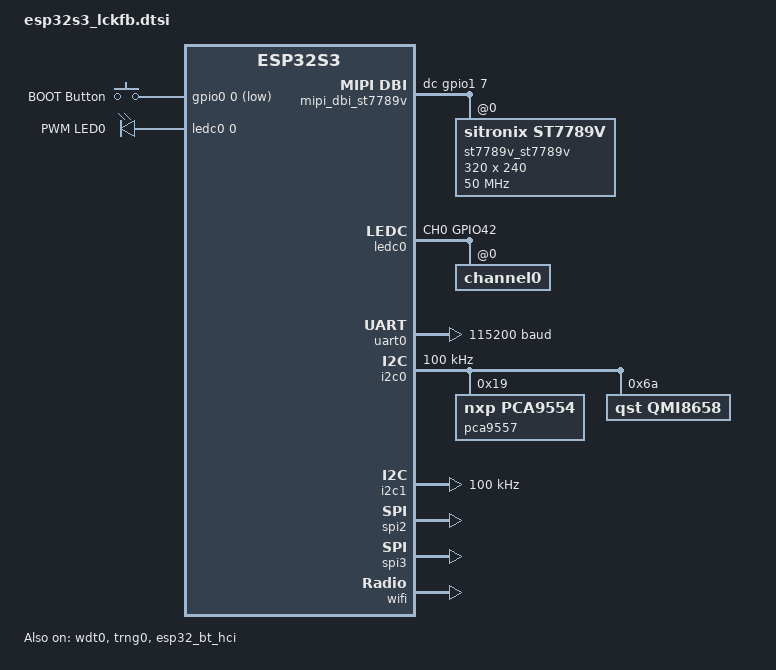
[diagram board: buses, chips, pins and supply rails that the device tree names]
/*
 * Copyright (c) 2023 YuLong Yao <feilongphone@gmail.com>
 *
 * SPDX-License-Identifier: Apache-2.0
 */

#include <espressif/esp32s3/esp32s3_wroom_n16r8.dtsi>
#include "esp32s3_lckfb-pinctrl.dtsi"
#include <zephyr/dt-bindings/input/input-event-codes.h>
#include <espressif/partitions_0x0_amp.dtsi>
#include <zephyr/dt-bindings/mipi_dbi/mipi_dbi.h>
#include <zephyr/dt-bindings/pwm/pwm.h>

/ {
	buttons {
		compatible = "gpio-keys";

		button0: button_0 {
			gpios = <&gpio0 0 (GPIO_PULL_UP | GPIO_ACTIVE_LOW)>;
			label = "BOOT Button";
			zephyr,code = <INPUT_KEY_0>;
		};
	};

	chosen {
		zephyr,display = &st7789v_st7789v;
	};

	aliases {
		pwm-led-bk = &pwm_led_backlight;
	};

	mipi_dbi_st7789v {
		compatible = "zephyr,mipi-dbi-spi";
		spi-dev = <&spi2>;
		dc-gpios = <&gpio1 7 GPIO_ACTIVE_HIGH>;
		write-only;
		#address-cells = <1>;
		#size-cells = <0>;

		st7789v_st7789v: st7789v@0 {
			compatible = "sitronix,st7789v";
			mipi-max-frequency = <50000000>;
			reg = <0>;
			width = <320>;
			height = <240>;
			x-offset = <0>;
			y-offset = <0>;
			vcom = <0x2b>;
			gctrl = <0x35>;
			vrhs = <0x0f>;
			vdvs = <0x20>;
			mdac = <0x60>;
			gamma = <0x01>;
			colmod = <0x55>;
			lcm = <0x2c>;
			porch-param = [0c 0c 00 33 33];
			cmd2en-param = [5a 69 02 01];
			pwctrl1-param = [52 a1];
			pvgam-param = [D0 00 02 07 0B 1A 31 54 40 29 12 12 12 17];
			nvgam-param = [D0 00 02 07 05 15 2D 44 44 1C 18 16 1C 1D];
			ram-param = [00 F8];
			rgb-param = [CD 08 14];
			mipi-mode = "MIPI_DBI_MODE_SPI_4WIRE";
		};
	};

	pwmleds {
		compatible = "pwm-leds";

		pwm_led_backlight: pwm_led_gpio42 {
			label = "PWM LED0";
			pwms = <&ledc0 0 1000 PWM_POLARITY_INVERTED>;
		};
	};
};

&pinctrl {
	ledc0_default: ledc0_default {
		group1 {
			pinmux = <LEDC_CH0_GPIO42>;
			output-enable;
		};
	};
};

&ledc0 {
	pinctrl-0 = <&ledc0_default>;
	pinctrl-names = "default";
	status = "okay";
	#address-cells = <1>;
	#size-cells = <0>;

	channel0@0 {
		reg = <0x0>;
		timer = <0>;
	};
};

&uart0 {
	status = "okay";
	current-speed = <115200>;
	pinctrl-0 = <&uart0_default>;
	pinctrl-names = "default";
};

&gpio0 {
	status = "okay";
};

&gpio1 {
	status = "okay";
};

&i2c0 {
	clock-frequency = <I2C_BITRATE_STANDARD>;
	pinctrl-0 = <&i2c0_default>;
	pinctrl-names = "default";
	status = "okay";

	pca9557: pca9557@19 {
		compatible = "nxp,pca9554"; // pca9538 has the same rigister layout as pca9557
		reg = <0x19>;
		gpio-controller;
		ngpios = <8>;
		#gpio-cells = <2>;
	};

	qmi8658: qmi8658@6a {
		compatible = "qst,qmi8658";
		reg = <0x6a>;
		accel-hz = <1000>;
		gyro-hz = <1000>;
		accel-fs = <8>;
		gyro-fs = <1024>;
	};
};

&i2c1 {
	clock-frequency = <I2C_BITRATE_STANDARD>;
	pinctrl-0 = <&i2c1_default>;
	pinctrl-names = "default";
};

&spi2 {
	#address-cells = <1>;
	#size-cells = <0>;
	status = "okay";
	pinctrl-0 = <&spim2_default>;
	pinctrl-names = "default";
};

&spi3 {
	#address-cells = <1>;
	#size-cells = <0>;
	status = "okay";
	pinctrl-0 = <&spim3_default>;
	pinctrl-names = "default";
};

&twai {
	pinctrl-0 = <&twai_default>;
	pinctrl-names = "default";
};

&timer0 {
	status = "disabled";
};

&timer1 {
	status = "disabled";
};

&timer2 {
	status = "disabled";
};

&timer3 {
	status = "disabled";
};

&wdt0 {
	status = "okay";
};

&trng0 {
	status = "okay";
};

&esp32_bt_hci {
	status = "okay";
};

&wifi {
	status = "okay";
};
